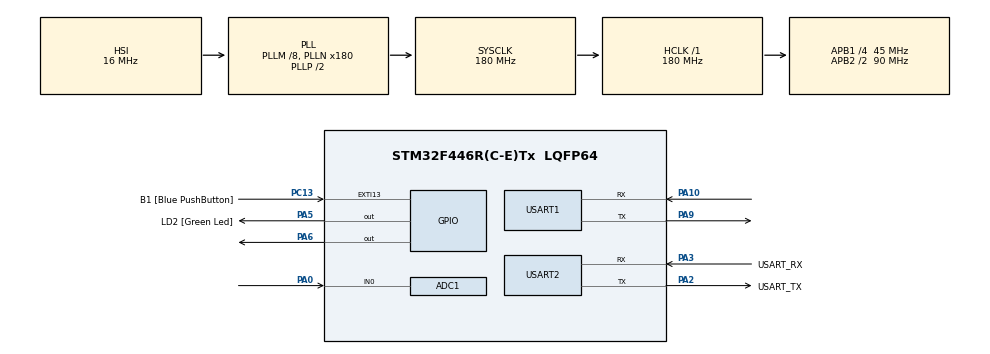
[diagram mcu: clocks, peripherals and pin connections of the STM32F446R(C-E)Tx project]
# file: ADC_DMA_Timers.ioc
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ADC1.Channel-0\#ChannelRegularConversion=ADC_CHANNEL_0
ADC1.DMAContinuousRequests=ENABLE
ADC1.ExternalTrigConv=ADC_EXTERNALTRIGCONV_T2_TRGO
ADC1.NbrOfConversion=1
ADC1.NbrOfConversionFlag=1
ADC1.Rank-0\#ChannelRegularConversion=1
ADC1.SamplingTime-0\#ChannelRegularConversion=ADC_SAMPLETIME_3CYCLES
ADC1.master=1
Dma.ADC1.0.Direction=DMA_PERIPH_TO_MEMORY
Dma.ADC1.0.FIFOMode=DMA_FIFOMODE_DISABLE
Dma.ADC1.0.Instance=DMA2_Stream0
Dma.ADC1.0.MemDataAlignment=DMA_MDATAALIGN_WORD
Dma.ADC1.0.MemInc=DMA_MINC_ENABLE
Dma.ADC1.0.Mode=DMA_CIRCULAR
Dma.ADC1.0.PeriphDataAlignment=DMA_PDATAALIGN_WORD
Dma.ADC1.0.PeriphInc=DMA_PINC_DISABLE
Dma.ADC1.0.Priority=DMA_PRIORITY_VERY_HIGH
Dma.Request0=ADC1
Mcu.Family=STM32F4
Mcu.Name=STM32F446R(C-E)Tx
Mcu.Package=LQFP64
NVIC.DMA2_Stream0_IRQn=true\:0\:0\:false\:false\:true\:false\:true\:true
NVIC.PriorityGroup=NVIC_PRIORITYGROUP_0
PA0-WKUP.Signal=ADCx_IN0
PA10.Mode=Asynchronous
PA10.Signal=USART1_RX
PA13.GPIO_Label=TMS
PA13.Mode=Serial_Wire
PA13.Signal=SYS_JTMS-SWDIO
PA14.GPIO_Label=TCK
PA14.Mode=Serial_Wire
PA14.Signal=SYS_JTCK-SWCLK
PA2.GPIO_Label=USART_TX
PA2.Mode=Asynchronous
PA2.Signal=USART2_TX
PA3.GPIO_Label=USART_RX
PA3.Mode=Asynchronous
PA3.Signal=USART2_RX
PA5.GPIO_Label=LD2 [Green Led]
PA5.Signal=GPIO_Output
PA6.Signal=GPIO_Output
PA9.Mode=Asynchronous
PA9.Signal=USART1_TX
PB3.GPIO_Label=SWO
PB3.Signal=SYS_JTDO-SWO
PC13.GPIO_Label=B1 [Blue PushButton]
PC13.GPIO_ModeDefaultEXTI=GPIO_MODE_IT_FALLING
PC13.Signal=GPXTI13
PC14-OSC32_IN.Mode=LSE-External-Oscillator
PC14-OSC32_IN.Signal=RCC_OSC32_IN
PC15-OSC32_OUT.Mode=LSE-External-Oscillator
PC15-OSC32_OUT.Signal=RCC_OSC32_OUT
PH0-OSC_IN.Mode=HSE-External-Oscillator
PH0-OSC_IN.Signal=RCC_OSC_IN
PH1-OSC_OUT.Mode=HSE-External-Oscillator
PH1-OSC_OUT.Signal=RCC_OSC_OUT
ProjectManager.HeapSize=0x200
ProjectManager.StackSize=0x400
ProjectManager.TargetToolchain=STM32CubeIDE
RCC.48MHZClocksFreq_Value=84000000
RCC.AHBFreq_Value=180000000
RCC.APB1CLKDivider=RCC_HCLK_DIV4
RCC.APB1Freq_Value=45000000
RCC.APB1TimFreq_Value=90000000
RCC.APB2CLKDivider=RCC_HCLK_DIV2
RCC.APB2Freq_Value=90000000
RCC.APB2TimFreq_Value=180000000
RCC.CortexFreq_Value=180000000
RCC.FLatency-AdvancedSettings=FLASH_LATENCY_5
RCC.HCLKFreq_Value=180000000
RCC.HSE_VALUE=8000000
RCC.HSI_VALUE=16000000
RCC.PLLM=8
RCC.PLLN=180
RCC.SYSCLKFreq_VALUE=180000000
RCC.SYSCLKSource=RCC_SYSCLKSOURCE_PLLCLK
RCC.USBFreq_Value=180000000
RCC.VCOOutputFreq_Value=360000000
SH.ADCx_IN0.0=ADC1_IN0,IN0
TIM2.Period=10-1
TIM2.Prescaler=22-1
TIM2.TIM_MasterOutputTrigger=TIM_TRGO_UPDATE
USART1.VirtualMode=VM_ASYNC
USART2.VirtualMode=VM_ASYNC
VP_TIM2_VS_ClockSourceINT.Mode=Internal
board=NUCLEO-F446RE

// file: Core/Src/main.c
/* USER CODE BEGIN Header */
/**
  ******************************************************************************
  * @file           : main.c
  * @brief          : Main program body
  ******************************************************************************
  * @attention
  *
  * Copyright (c) 2023 STMicroelectronics.
  * All rights reserved.
  *
  * This software is licensed under terms that can be found in the LICENSE file
  * in the root directory of this software component.
  * If no LICENSE file comes with this software, it is provided AS-IS.
  *
  ******************************************************************************
  */
/* USER CODE END Header */
#include "main.h"

/* USER CODE BEGIN Includes */
/* USER CODE BEGIN Includes */
//#################################################################################
//#################################################################################
//#################################################################################
//#################################################################################
//#################################################################################
//#################################################################################
#define ARM_MATH_CM4
#include "arm_math.h"
#include <stdio.h>
#include <string.h>

//#################################################################################
//#################################################################################
//#################################################################################
//#################################################################################
//#################################################################################
//#################################################################################
/* USER CODE END Includes */

/* USER CODE BEGIN PD */
//#################################################################################
//#################################################################################
//#################################################################################
//#################################################################################
//#################################################################################
//#################################################################################

// number of samples per channel: N
#define ADC1_CHANNEL_BUFFER_SIZE 2048
// actual fft size
#define ADC1_CHANNEL_FFT_BUFFER_SIZE 1024
// actual fft ouput point
#define FREQ_BINS ADC1_CHANNEL_FFT_BUFFER_SIZE / 2
// number of input channels
#define ADC1_CHANNELS 1

//#################################################################################
//#################################################################################
//#################################################################################
//#################################################################################
//#################################################################################
//#################################################################################
/* USER CODE END PD */

ADC_HandleTypeDef hadc1;
DMA_HandleTypeDef hdma_adc1;

TIM_HandleTypeDef htim2;

UART_HandleTypeDef huart1;
UART_HandleTypeDef huart2;

/* USER CODE BEGIN PV */
//#################################################################################
//#################################################################################
//#################################################################################
//#################################################################################
//#################################################################################
//#################################################################################
// structure used for ARM dsp fft functions
static arm_rfft_fast_instance_f32 fft_handler;
float fft_in_buf[ADC1_CHANNEL_FFT_BUFFER_SIZE];
float fft_out_buf[ADC1_CHANNEL_FFT_BUFFER_SIZE];
static volatile uint32_t adc1_read_buffer[ADC1_CHANNELS * ADC1_CHANNEL_BUFFER_SIZE];
static volatile float adc1_chanel_0_samples[ADC1_CHANNEL_BUFFER_SIZE];
static volatile float adc1_chanel_0_voltages[ADC1_CHANNEL_BUFFER_SIZE];
static volatile float adc1_chanel_0_freq_magnitudes[ADC1_CHANNEL_FFT_BUFFER_SIZE / 2];
static volatile float adc1_chanel_0_freq_dBV[ADC1_CHANNEL_FFT_BUFFER_SIZE / 2];
static volatile float adc1_chanel_0_freqs[ADC1_CHANNEL_FFT_BUFFER_SIZE / 2];

int adcComplete = 1;

char txBuffer[ADC1_CHANNELS * ADC1_CHANNEL_BUFFER_SIZE];

//#################################################################################
//#################################################################################
//#################################################################################
//#################################################################################
//#################################################################################
//#################################################################################
/* USER CODE END PV */

void SystemClock_Config(void);
static void MX_GPIO_Init(void);
static void MX_DMA_Init(void);
static void MX_USART2_UART_Init(void);
static void MX_ADC1_Init(void);
static void MX_TIM2_Init(void);
static void MX_USART1_UART_Init(void);
/* USER CODE BEGIN PFP */
//#################################################################################
//#################################################################################
//#################################################################################
//#################################################################################
//#################################################################################
//#################################################################################

void dspEntry(void);
void sendData(void);
void doFFT(void);
float complexABS(float real, float compl);
void sendFFTdata(void);
void sendFFTfreqs(void);
void findUSFreqPeak(void);
void sendFreqToSonify(int highestFreqIndex);

//#################################################################################
//#################################################################################
//#################################################################################
//#################################################################################
//#################################################################################
//#################################################################################
/* USER CODE END PFP */

int main(void)
{

  /* MCU Configuration--------------------------------------------------------*/

  /* Reset of all peripherals, Initializes the Flash interface and the Systick. */
  HAL_Init();

  /* Configure the system clock */
  SystemClock_Config();

  /* Initialize all configured peripherals */
  MX_GPIO_Init();
  MX_DMA_Init();
  MX_USART2_UART_Init();
  MX_ADC1_Init();
  MX_TIM2_Init();
  MX_USART1_UART_Init();
  /* USER CODE BEGIN 2 */
  //#################################################################################
  //#################################################################################
  //#################################################################################
  //#################################################################################
  //#################################################################################
  //#################################################################################

  HAL_ADC_Start_DMA(&hadc1, (uint32_t*)adc1_read_buffer, ADC1_CHANNEL_BUFFER_SIZE * ADC1_CHANNELS);
  HAL_TIM_Base_Start(&htim2);
  arm_rfft_fast_init_f32(&fft_handler, ADC1_CHANNEL_FFT_BUFFER_SIZE);

  //#################################################################################
  //#################################################################################
  //#################################################################################
  //#################################################################################
  //#################################################################################
  //#################################################################################
  /* USER CODE END 2 */

  /* Infinite loop */
  /* USER CODE BEGIN WHILE */
  while (1)
  {
	//#################################################################################
	//#################################################################################
	//#################################################################################
	//#################################################################################
	//#################################################################################
	//#################################################################################

		while (adcComplete == 0)
		{

		}
		adcComplete = 0;
		dspEntry();

	//#################################################################################
	//#################################################################################
	//#################################################################################
	//#################################################################################
	//#################################################################################
	//#################################################################################
    /* USER CODE END WHILE */

  }
}

void SystemClock_Config(void)
{
  RCC_OscInitTypeDef RCC_OscInitStruct = {0};
  RCC_ClkInitTypeDef RCC_ClkInitStruct = {0};

  /** Configure the main internal regulator output voltage
  */
  __HAL_RCC_PWR_CLK_ENABLE();
  __HAL_PWR_VOLTAGESCALING_CONFIG(PWR_REGULATOR_VOLTAGE_SCALE1);

  /** Initializes the RCC Oscillators according to the specified parameters
  * in the RCC_OscInitTypeDef structure.
  */
  RCC_OscInitStruct.OscillatorType = RCC_OSCILLATORTYPE_HSI;
  RCC_OscInitStruct.HSIState = RCC_HSI_ON;
  RCC_OscInitStruct.HSICalibrationValue = RCC_HSICALIBRATION_DEFAULT;
  RCC_OscInitStruct.PLL.PLLState = RCC_PLL_ON;
  RCC_OscInitStruct.PLL.PLLSource = RCC_PLLSOURCE_HSI;
  RCC_OscInitStruct.PLL.PLLM = 8;
  RCC_OscInitStruct.PLL.PLLN = 180;
  RCC_OscInitStruct.PLL.PLLP = RCC_PLLP_DIV2;
  RCC_OscInitStruct.PLL.PLLQ = 2;
  RCC_OscInitStruct.PLL.PLLR = 2;
  if (HAL_RCC_OscConfig(&RCC_OscInitStruct) != HAL_OK)
  {
    Error_Handler();
  }

  /** Activate the Over-Drive mode
  */
  if (HAL_PWREx_EnableOverDrive() != HAL_OK)
  {
    Error_Handler();
  }

  /** Initializes the CPU, AHB and APB buses clocks
  */
  RCC_ClkInitStruct.ClockType = RCC_CLOCKTYPE_HCLK|RCC_CLOCKTYPE_SYSCLK
                              |RCC_CLOCKTYPE_PCLK1|RCC_CLOCKTYPE_PCLK2;
  RCC_ClkInitStruct.SYSCLKSource = RCC_SYSCLKSOURCE_PLLCLK;
  RCC_ClkInitStruct.AHBCLKDivider = RCC_SYSCLK_DIV1;
  RCC_ClkInitStruct.APB1CLKDivider = RCC_HCLK_DIV4;
  RCC_ClkInitStruct.APB2CLKDivider = RCC_HCLK_DIV2;

  if (HAL_RCC_ClockConfig(&RCC_ClkInitStruct, FLASH_LATENCY_5) != HAL_OK)
  {
    Error_Handler();
  }
}

static void MX_ADC1_Init(void)
{

  ADC_ChannelConfTypeDef sConfig = {0};

  /** Configure the global features of the ADC (Clock, Resolution, Data Alignment and number of conversion)
  */
  hadc1.Instance = ADC1;
  hadc1.Init.ClockPrescaler = ADC_CLOCK_SYNC_PCLK_DIV4;
  hadc1.Init.Resolution = ADC_RESOLUTION_12B;
  hadc1.Init.ScanConvMode = DISABLE;
  hadc1.Init.ContinuousConvMode = DISABLE;
  hadc1.Init.DiscontinuousConvMode = DISABLE;
  hadc1.Init.ExternalTrigConvEdge = ADC_EXTERNALTRIGCONVEDGE_RISING;
  hadc1.Init.ExternalTrigConv = ADC_EXTERNALTRIGCONV_T2_TRGO;
  hadc1.Init.DataAlign = ADC_DATAALIGN_RIGHT;
  hadc1.Init.NbrOfConversion = 1;
  hadc1.Init.DMAContinuousRequests = ENABLE;
  hadc1.Init.EOCSelection = ADC_EOC_SINGLE_CONV;
  if (HAL_ADC_Init(&hadc1) != HAL_OK)
  {
    Error_Handler();
  }

  /** Configure for the selected ADC regular channel its corresponding rank in the sequencer and its sample time.
  */
  sConfig.Channel = ADC_CHANNEL_0;
  sConfig.Rank = 1;
  sConfig.SamplingTime = ADC_SAMPLETIME_3CYCLES;
  if (HAL_ADC_ConfigChannel(&hadc1, &sConfig) != HAL_OK)
  {
    Error_Handler();
  }

}

static void MX_TIM2_Init(void)
{

  TIM_ClockConfigTypeDef sClockSourceConfig = {0};
  TIM_MasterConfigTypeDef sMasterConfig = {0};

  htim2.Instance = TIM2;
  htim2.Init.Prescaler = 22-1;
  htim2.Init.CounterMode = TIM_COUNTERMODE_UP;
  htim2.Init.Period = 10-1;
  htim2.Init.ClockDivision = TIM_CLOCKDIVISION_DIV1;
  htim2.Init.AutoReloadPreload = TIM_AUTORELOAD_PRELOAD_DISABLE;
  if (HAL_TIM_Base_Init(&htim2) != HAL_OK)
  {
    Error_Handler();
  }
  sClockSourceConfig.ClockSource = TIM_CLOCKSOURCE_INTERNAL;
  if (HAL_TIM_ConfigClockSource(&htim2, &sClockSourceConfig) != HAL_OK)
  {
    Error_Handler();
  }
  sMasterConfig.MasterOutputTrigger = TIM_TRGO_UPDATE;
  sMasterConfig.MasterSlaveMode = TIM_MASTERSLAVEMODE_DISABLE;
  if (HAL_TIMEx_MasterConfigSynchronization(&htim2, &sMasterConfig) != HAL_OK)
  {
    Error_Handler();
  }

}

static void MX_USART1_UART_Init(void)
{

  huart1.Instance = USART1;
  huart1.Init.BaudRate = 115200;
  huart1.Init.WordLength = UART_WORDLENGTH_8B;
  huart1.Init.StopBits = UART_STOPBITS_1;
  huart1.Init.Parity = UART_PARITY_NONE;
  huart1.Init.Mode = UART_MODE_TX_RX;
  huart1.Init.HwFlowCtl = UART_HWCONTROL_NONE;
  huart1.Init.OverSampling = UART_OVERSAMPLING_16;
  if (HAL_UART_Init(&huart1) != HAL_OK)
  {
    Error_Handler();
  }

}

static void MX_USART2_UART_Init(void)
{

  huart2.Instance = USART2;
  huart2.Init.BaudRate = 115200;
  huart2.Init.WordLength = UART_WORDLENGTH_8B;
  huart2.Init.StopBits = UART_STOPBITS_1;
  huart2.Init.Parity = UART_PARITY_NONE;
  huart2.Init.Mode = UART_MODE_TX_RX;
  huart2.Init.HwFlowCtl = UART_HWCONTROL_NONE;
  huart2.Init.OverSampling = UART_OVERSAMPLING_16;
  if (HAL_UART_Init(&huart2) != HAL_OK)
  {
    Error_Handler();
  }

}

static void MX_DMA_Init(void)
{

  /* DMA controller clock enable */
  __HAL_RCC_DMA2_CLK_ENABLE();

  /* DMA interrupt init */
  /* DMA2_Stream0_IRQn interrupt configuration */
  HAL_NVIC_SetPriority(DMA2_Stream0_IRQn, 0, 0);
  HAL_NVIC_EnableIRQ(DMA2_Stream0_IRQn);

}

static void MX_GPIO_Init(void)
{
  GPIO_InitTypeDef GPIO_InitStruct = {0};

  /* GPIO Ports Clock Enable */
  __HAL_RCC_GPIOC_CLK_ENABLE();
  __HAL_RCC_GPIOH_CLK_ENABLE();
  __HAL_RCC_GPIOA_CLK_ENABLE();
  __HAL_RCC_GPIOB_CLK_ENABLE();

  /*Configure GPIO pin Output Level */
  HAL_GPIO_WritePin(GPIOA, LD2_Pin|GPIO_PIN_6, GPIO_PIN_RESET);

  /*Configure GPIO pin : B1_Pin */
  GPIO_InitStruct.Pin = B1_Pin;
  GPIO_InitStruct.Mode = GPIO_MODE_IT_FALLING;
  GPIO_InitStruct.Pull = GPIO_NOPULL;
  HAL_GPIO_Init(B1_GPIO_Port, &GPIO_InitStruct);

  /*Configure GPIO pins : LD2_Pin PA6 */
  GPIO_InitStruct.Pin = LD2_Pin|GPIO_PIN_6;
  GPIO_InitStruct.Mode = GPIO_MODE_OUTPUT_PP;
  GPIO_InitStruct.Pull = GPIO_NOPULL;
  GPIO_InitStruct.Speed = GPIO_SPEED_FREQ_LOW;
  HAL_GPIO_Init(GPIOA, &GPIO_InitStruct);

}

/* USER CODE BEGIN 4 */
//#################################################################################
//#################################################################################
//#################################################################################
//#################################################################################
//#################################################################################
//#################################################################################

/*void HAL_ADC_ConvHalfCpltCallback(ADC_HandleTypeDef* hadc){}*/

void HAL_ADC_ConvCpltCallback(ADC_HandleTypeDef* hadc)
{
	HAL_GPIO_TogglePin(GPIOA, GPIO_PIN_6);
	adcComplete = 1;
}

void dspEntry()
{
	//get channel samples
	for(uint32_t i = 0; i < ADC1_CHANNEL_BUFFER_SIZE * ADC1_CHANNELS; i++)
	{
		adc1_chanel_0_samples[i] = adc1_read_buffer[i];
	}
	for(uint32_t i = 0; i < ADC1_CHANNEL_BUFFER_SIZE * ADC1_CHANNELS; i++)
	{
		adc1_chanel_0_voltages[i] = 3.3 / 4095 * adc1_read_buffer[i];
	}

	//sendData();
	int fft_in_ptr = 0;
	for (int i=0; i<ADC1_CHANNEL_FFT_BUFFER_SIZE; i++)
	{
		fft_in_buf[fft_in_ptr] = (float32_t) (adc1_chanel_0_voltages[i]);
		fft_in_ptr++;
	}
	doFFT();
}
float complexABS(float real, float compl)
{
	return sqrtf(real*real+compl*compl);
}
void doFFT()
{
	//Do FFT
	arm_rfft_fast_f32(&fft_handler, fft_in_buf, fft_out_buf, 0);
	int freqpoint = 0;

	//calculate abs values and linear-to-dB
	for (int i=0; i<ADC1_CHANNEL_FFT_BUFFER_SIZE; i=i+2)
	{
		adc1_chanel_0_freq_dBV[freqpoint] = (int)(20*log10f(complexABS(fft_out_buf[i], fft_out_buf[i+1])));
		adc1_chanel_0_freq_magnitudes[freqpoint] = complexABS(fft_out_buf[i], fft_out_buf[i+1]);
		if (adc1_chanel_0_freq_magnitudes[freqpoint]<0) adc1_chanel_0_freq_magnitudes[freqpoint]=0;
			freqpoint++;

		// Calculate frequency
		float sample_frequency = 208000;  // Set the actual sampling frequency
		float frequency_bin = (float)freqpoint * sample_frequency / (ADC1_CHANNEL_FFT_BUFFER_SIZE/2);

		adc1_chanel_0_freqs[freqpoint] = frequency_bin;
	}
	sendFFTfreqs();
	sendFFTdata();
	findUSFreqPeak();
}
void findUSFreqPeak()
{
	float max_value = -INFINITY;
	int max_value_index = -1;
	//find highest us freq magnitude
	for (int i = 49; i < 255; i++)
	{
		if (adc1_chanel_0_freq_dBV[i] > max_value)
		{
			max_value = adc1_chanel_0_freq_dBV[i];
			max_value_index = i;
		}
	}
	if (max_value > 10)
	{
		sendFreqToSonify(max_value_index);
	}
}
void sendFreqToSonify(int highestFreqIndex)
{
	int freqOffset = 100;
	// create msg
	//char msg[]= "SONIFY:\r\n";
	// Send the message over UART
	//HAL_UART_Transmit(&huart1, (uint8_t *)msg, strlen(msg), HAL_MAX_DELAY);

	int sonifiedFreq = (adc1_chanel_0_freqs[highestFreqIndex] + freqOffset)/10;
	int numChars = snprintf(txBuffer, sizeof(txBuffer), "%d\r\n",(int)sonifiedFreq);

	if (numChars > 0)
	{
		// Transmit data over UART
		HAL_UART_Transmit(&huart1, (uint8_t *)txBuffer, numChars, HAL_MAX_DELAY);
	}

}
void sendData()
{

 	// create msg
	char msg[]= "CH0:\r\n";
	// Send the message over UART
	HAL_UART_Transmit(&huart2, (uint8_t *)msg, strlen(msg), HAL_MAX_DELAY);

	for (uint32_t i = 0; i < ADC1_CHANNEL_BUFFER_SIZE; i++)
	{
		 // Assuming adc1_chanel_0_samples contains floating-point values
		 // Modify the format specifier and use the correct variable type
		 int numChars = snprintf(txBuffer, sizeof(txBuffer), "%.2f\r\n",(float)adc1_chanel_0_voltages[i]);

		 if (numChars > 0)
		 {
			  // Transmit data over UART
			  HAL_UART_Transmit(&huart2, (uint8_t *)txBuffer, numChars, HAL_MAX_DELAY);
		 }
	}
}
void sendFFTdata()
{

 // create msg
	char msg[]= "CH0 FFT:\r\n";
	// Send the message over UART
	HAL_UART_Transmit(&huart2, (uint8_t *)msg, strlen(msg), HAL_MAX_DELAY);

	for (uint32_t i = 0; i < ADC1_CHANNEL_FFT_BUFFER_SIZE / 2; i++)
	{
		 // Assuming adc1_chanel_0_samples contains floating-point values
		 // Modify the format specifier and use the correct variable type
		 int numChars = snprintf(txBuffer, sizeof(txBuffer), "%.2f\r\n",(float)adc1_chanel_0_freq_dBV[i]);

		 if (numChars > 0)
		 {
			  // Transmit data over UART
			  HAL_UART_Transmit(&huart2, (uint8_t *)txBuffer, numChars, HAL_MAX_DELAY);
			  //HAL_Delay(500);
		 }
		 else
		 {
			 break;
		 }
	}
}
void sendFFTfreqs()
{
	// create msg
	char msg[]= "CH0 Freqs:\r\n";
	// Send the message over UART
	HAL_UART_Transmit(&huart2, (uint8_t *)msg, strlen(msg), HAL_MAX_DELAY);

	for (uint32_t i = 0; i < ADC1_CHANNEL_FFT_BUFFER_SIZE / 2; i++)
	{
		 // Assuming adc1_chanel_0_samples contains floating-point values
		 // Modify the format specifier and use the correct variable type
		 int numChars = snprintf(txBuffer, sizeof(txBuffer), "%.2f\r\n",(float)adc1_chanel_0_freqs[i]);

		 if (numChars > 0)
		 {
			  // Transmit data over UART
			  HAL_UART_Transmit(&huart2, (uint8_t *)txBuffer, numChars, HAL_MAX_DELAY);
			  //HAL_Delay(500);
		 }
		 else
		 {
			 break;
		 }
	}
}
//#################################################################################
//#################################################################################
//#################################################################################
//#################################################################################
//#################################################################################
//#################################################################################
/* USER CODE END 4 */

void Error_Handler(void)
{
  __disable_irq();
  while (1)
  {
  }
}
